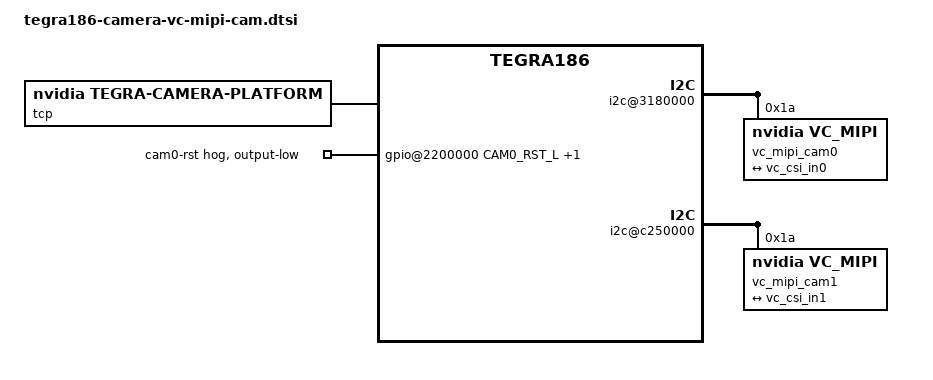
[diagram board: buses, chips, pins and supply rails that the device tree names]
/*
 * Copyright (c) 2020-2023, Vision Components GmbH.  All rights reserved.
 *
 * This program is free software; you can redistribute it and/or modify
 * it under the terms of the GNU General Public License as published by
 * the Free Software Foundation; either version 2 of the License, or
 * (at your option) any later version.
 *
 * This program is distributed in the hope that it will be useful, but WITHOUT
 * ANY WARRANTY; without even the implied warranty of MERCHANTABILITY or
 * FITNESS FOR A PARTICULAR PURPOSE.  See the GNU General Public License for
 * more details.
 *
 * You should have received a copy of the GNU General Public License
 * along with this program.  If not, see <http://www.gnu.org/licenses/>.
 */

#include "dt-bindings/clock/tegra186-clock.h"

// ------------------------------------------------------------------------------------------------
//  Driver Configuration for NVIDIA Jetson TX2 Developer Kit on Auvidea J20
// ------------------------------------------------------------------------------------------------
#define VC_MIPI_CAM_2       1   // 1: Enabled, 0: Disabled  (serial_c => CSI Port 2 => VI Stream 2)
#define VC_MIPI_CAM_3       1   // 1: Enabled, 0: Disabled  (serial_e => CSI Port 4 => VI Stream 4)
// ------------------------------------------------------------------------------------------------
//  Supported number of lanes
// -----+------------------------------------------------------------------------------------------
//  1   | OV7251, IMX296, IMX297
//  2   | OV9281, IMX264, IMX265
//  2,4 | IMX178, IMX183, IMX226, IMX250, IMX252, IMX273, IMX290, IMX327, IMX335, IMX392, 
//      | IMX412, IMX415, IMX462, IMX565, IMX566, IMX567, IMX568, IMX900
// -----+------------------------------------------------------------------------------------------
#define VC_MIPI_LANES       2   // 1, 2 Lanes
// ------------------------------------------------------------------------------------------------
//  Embedded Metadata Height
// -----+------------------------------------------------------------------------------------------
//  0   | IMX178, IMX183, IMX226, IMX250, IMX252, IMX264, IMX265, IMX273, IMX392, OV7251, OV9281
//  1   | IMX290, IMX327, IMX335, IMX415, IMX462, IMX565, IMX566, IMX567, IMX568, IMX900
//  2   | IMX296, IMX297, IMX412
// -----+------------------------------------------------------------------------------------------
#define VC_MIPI_METADATA_H  "1" // "0", "1", "2" Lines of meta data
// ------------------------------------------------------------------------------------------------
//   Sensor Manufacturer
// -----+------------------------------------------------------------------------------------------
//   1  | Sony Sensor (IMX)
//   2  | Omni Vision Sensor (OV)
// -----+------------------------------------------------------------------------------------------
#define VC_MIPI_MANUFACTURER 1
// ------------------------------------------------------------------------------------------------
//  GStreamer Support
// ------------------------------------------------------------------------------------------------
//  If you want to use GStreamer with nvarguscamerasrc you have to adjust this settings in the 
//  device tree below. The sections which have to be modified are marked by a comment. 
//  To find the correct parameter values please follow the instruction in the main README.md of 
//  this repository https://github.com/VC-MIPI-modules/vc_mipi_nvidia#gstreamer-support
// ------------------------------------------------------------------------------------------------

#if VC_MIPI_LANES == 1
    #define BUS_WIDTH 1
    #define NUM_LANES "1" 
    #define NUM_CSI_LANES 2
#endif
#if VC_MIPI_LANES == 2
    #define BUS_WIDTH 2
    #define NUM_LANES "2" 
    #define NUM_CSI_LANES 4
#endif

#if VC_MIPI_CAM_2 == 1 && VC_MIPI_CAM_3 == 1
    #define VC_MIPI_CAMERAS 2
#else
    #define VC_MIPI_CAMERAS 1
#endif

/ {
    host1x {
        vi_base: vi@15700000 {
            num-channels = <VC_MIPI_CAMERAS>;
            ports {
                #address-cells = <1>;
                #size-cells = <0>;
#if VC_MIPI_CAM_2 == 1
                vc_vi_port0: port@0 {
                    reg = <0>;
                    vc_vi_in0: endpoint {
                        port-index = <2>;
                        bus-width = <BUS_WIDTH>;
                        remote-endpoint = <&vc_csi_out0>;
                    };
                };
#endif
#if VC_MIPI_CAM_3 == 1
                vc_vi_port1: port@1 {
                    reg = <1>;
                    vc_vi_in1: endpoint {
                        port-index = <4>;
                        bus-width = <BUS_WIDTH>;
                        remote-endpoint = <&vc_csi_out1>;
                    };
                };
#endif
            };
        };

        vc_csi_base: nvcsi@150c0000 {
            num-channels = <VC_MIPI_CAMERAS>;
            #address-cells = <1>;
            #size-cells = <0>;
#if VC_MIPI_CAM_2 == 1
            vc_csi_chan0: channel@0 {
                reg = <0>;
                ports {
                    #address-cells = <1>;
                    #size-cells = <0>;
                    vc_csi_chan0_port0: port@0 {
                        reg = <0>;
                        vc_csi_in0: endpoint@0 {
                            port-index = <2>;
                            bus-width = <BUS_WIDTH>;
                            remote-endpoint = <&vc_mipi_out0>;
                        };
                    };
                    vc_csi_chan0_port1: port@1 {
                        reg = <1>;
                        vc_csi_out0: endpoint@1 {
                            remote-endpoint = <&vc_vi_in0>;
                        };
                    };
                };
            };
#endif
#if VC_MIPI_CAM_3 == 1
            vc_csi_chan1: channel@1 {
                reg = <1>;
                ports {
                    #address-cells = <1>;
                    #size-cells = <0>;
                    vc_csi_chan1_port0: port@0 {
                        reg = <0>;
                        vc_csi_in1: endpoint@2 {
                            port-index = <4>;
                            bus-width = <BUS_WIDTH>;
                            remote-endpoint = <&vc_mipi_out1>;
                        };
                    };
                    vc_csi_chan1_port1: port@1 {
                        reg = <1>;
                        vc_csi_out1: endpoint@3 {
                            remote-endpoint = <&vc_vi_in1>;
                        };
                    };
                };
            };
#endif
        };
    };

#if VC_MIPI_CAM_2 == 1
    i2c@3180000 {
#if VC_MIPI_MANUFACTURER == 1
        vc_mipi_cam0: vc_mipi@1a {
            reg                     = <0x1a>;
#else
        vc_mipi_cam0: vc_mipi@60 {
            reg                     = <0x60>;
#endif
            compatible              = "nvidia,vc_mipi";
            devnode                 = "video0";
            use_sensor_mode_id      = "false";
            sensor_model            = "vc_mipi";

            num_lanes               = NUM_LANES;
            trigger_mode            = "0";
            io_mode                 = "0";

            // ----------------------------------------------------
            // If you want to use GStreamer with nvarguscamerasrc
            // you have to adjust this settings
            physical_w              = "1.000";
            physical_h              = "1.000";
            // ----------------------------------------------------

            // This node is needed by the Tegra framework.
            // You don't have to change any settings if just want to use the V4L API.
            mode0 {
                num_lanes                = NUM_LANES;
                tegra_sinterface         = "serial_c";
                embedded_metadata_height = VC_MIPI_METADATA_H;
                readout_orientation      = "0";

                // ----------------------------------------------------
                // If you want to use GStreamer with nvarguscamerasrc
                // you have to adjust this settings. 
                active_l                 = "0";
                active_t                 = "0";
                active_w                 = "0";
                active_h                 = "0";
                pixel_t                  = "bayer_rggb";

                min_gain_val             = "0";         // mdB
                max_gain_val             = "48000";     // mdB
                step_gain_val            = "100";       // mdB
                default_gain             = "0";         // mdB

                min_exp_time             = "1";         // us
                max_exp_time             = "1000000";   // us
                step_exp_time            = "1";         // us
                default_exp_time         = "10000";     // us

                // For applications like argus_camera, there should
                // be a minimal frame rate greater than zero!
                min_framerate            = "1000";      // mHz
                max_framerate            = "60000";     // mHz
                step_framerate           = "100";       // mHz
                default_framerate        = "60000";     // mHz
                // ----------------------------------------------------

                gain_factor              = "1000";
                exposure_factor          = "1000000";
                framerate_factor         = "1000";
                inherent_gain            = "1";
                min_hdr_ratio            = "1";
                max_hdr_ratio            = "1";

                line_length              = "0";
                phy_mode                 = "DPHY";
                discontinuous_clk        = "no";
                mclk_khz                 = "24000";
                pix_clk_hz               = "800000000";
                mclk_multiplier          = "9.33";
                cil_settletime           = "0";
                dpcm_enable              = "false";           
            };

            ports {
                #address-cells = <1>;
                #size-cells = <0>;
                port@0 {
                    reg = <0>;
                    vc_mipi_out0: endpoint {
                        port-index = <2>;
                        bus-width = <BUS_WIDTH>;
                        remote-endpoint = <&vc_csi_in0>;
                    };
                };
            };
        };
    };
#endif
#if VC_MIPI_CAM_3 == 1
    i2c@c250000 {
#if VC_MIPI_MANUFACTURER == 1
        vc_mipi_cam1: vc_mipi@1a {
            reg                     = <0x1a>;
#else
        vc_mipi_cam1: vc_mipi@60 {
            reg                     = <0x60>;
#endif
            compatible              = "nvidia,vc_mipi";
            devnode                 = "video1";
            use_sensor_mode_id      = "false";
            sensor_model            = "vc_mipi";

            num_lanes               = NUM_LANES;
            trigger_mode            = "0";
            io_mode                 = "0";

            // ----------------------------------------------------
            // If you want to use GStreamer with nvarguscamerasrc
            // you have to adjust this settings
            physical_w              = "1.000";
            physical_h              = "1.000";
            // ----------------------------------------------------

            // This node is needed by the Tegra framework.
            // You don't have to change any settings if just want to use the V4L API.
            mode0 {
                num_lanes                = NUM_LANES;
                tegra_sinterface         = "serial_e";
                embedded_metadata_height = VC_MIPI_METADATA_H;
                readout_orientation      = "0";

                // ----------------------------------------------------
                // If you want to use GStreamer with nvarguscamerasrc
                // you have to adjust this settings. 
                active_l                 = "0";
                active_t                 = "0";
                active_w                 = "0";
                active_h                 = "0";
                pixel_t                  = "bayer_rggb";

                min_gain_val             = "0";         // mdB
                max_gain_val             = "48000";     // mdB
                step_gain_val            = "100";       // mdB
                default_gain             = "0";         // mdB

                min_exp_time             = "1";         // us
                max_exp_time             = "1000000";   // us
                step_exp_time            = "1";         // us
                default_exp_time         = "10000";     // us

                // For applications like argus_camera, there should
                // be a minimal frame rate greater than zero!
                min_framerate            = "1000";      // mHz
                max_framerate            = "60000";     // mHz
                step_framerate           = "100";       // mHz
                default_framerate        = "60000";     // mHz
                // ----------------------------------------------------

                gain_factor              = "1000";
                exposure_factor          = "1000000";
                framerate_factor         = "1000";
                inherent_gain            = "1";
                min_hdr_ratio            = "1";
                max_hdr_ratio            = "1";

                line_length              = "0";
                phy_mode                 = "DPHY";
                discontinuous_clk        = "no";
                mclk_khz                 = "24000";
                pix_clk_hz               = "800000000";
                mclk_multiplier          = "9.33";
                cil_settletime           = "0";
                dpcm_enable              = "false";
            };

            ports {
                #address-cells = <1>;
                #size-cells = <0>;
                port@0 {
                    reg = <0>;
                    vc_mipi_out1: endpoint {
                        port-index = <4>;
                        bus-width = <BUS_WIDTH>;
                        remote-endpoint = <&vc_csi_in1>;
                    };
                };
            };
        };
    };
#endif

    lens@vc_mipi {
        min_focus_distance  = "0.0";
        hyper_focal         = "0.0";
        focal_length        = "6.0";
        f_number            = "2.0";
        aperture            = "0.0";
    };
};

/ {
    tcp: tegra-camera-platform {
        compatible = "nvidia, tegra-camera-platform";

        num_csi_lanes = <NUM_CSI_LANES>;
        max_lane_speed = <1500000>;
        min_bits_per_pixel = <10>;
        vi_peak_byte_per_pixel = <2>;
        vi_bw_margin_pct = <25>;
        max_pixel_rate = <240000>;
        isp_peak_byte_per_pixel = <5>;
        isp_bw_margin_pct = <25>;

        modules {
#if VC_MIPI_CAM_2 == 1
            cam_module0: module0 {
                status = "okay";
                badge = "quill_front_vc_mipi";
                position = "front";
                orientation = "0";
                cam_module0_drivernode0: drivernode0 {
                    status = "okay";
                    pcl_id = "v4l2_sensor";
#if VC_MIPI_MANUFACTURER == 1
                    devname = "vc_mipi 2-001a";
                    proc-device-tree = "/proc/device-tree/i2c@3180000/vc_mipi@1a";
#else
                    devname = "vc_mipi 2-0060";
                    proc-device-tree = "/proc/device-tree/i2c@3180000/vc_mipi@60";
#endif
                };
                cam_module0_drivernode1: drivernode1 {
                    status = "okay";
                    pcl_id = "v4l2_lens";
                    proc-device-tree = "/proc/device-tree/lens@vc_mipi/";
                };
            };
#endif
#if VC_MIPI_CAM_3 == 1
            cam_module1: module1 {
                status = "okay";
                badge = "quill_rear_vc_mipi";
                position = "rear";
                orientation = "1";
                cam_module1_drivernode0: drivernode0 {
                    status = "okay";
                    pcl_id = "v4l2_sensor";
#if VC_MIPI_MANUFACTURER == 1
                    devname = "vc_mipi 7-001a";
                    proc-device-tree = "/proc/device-tree/i2c@c250000/vc_mipi@1a";
#else
                    devname = "vc_mipi 7-0060";
                    proc-device-tree = "/proc/device-tree/i2c@c250000/vc_mipi@60";
#endif
                };
                cam_module1_drivernode1: drivernode1 {
                    status = "okay";
                    pcl_id = "v4l2_lens";
                    proc-device-tree = "/proc/device-tree/lens@vc_mipi/";
                };
            };
#endif
        };
    };
};

#define CAM0_RST_L  TEGRA_MAIN_GPIO(R, 5)
#define CAM0_PWDN   TEGRA_MAIN_GPIO(R, 0)

/ {
    gpio@2200000 {
        camera-control-output-low {
            gpio-hog;
            output-low;
            gpios = <CAM0_RST_L 0 CAM0_PWDN 0>;
            label = "cam0-rst", "cam0-pwdn";
        };
    };
};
